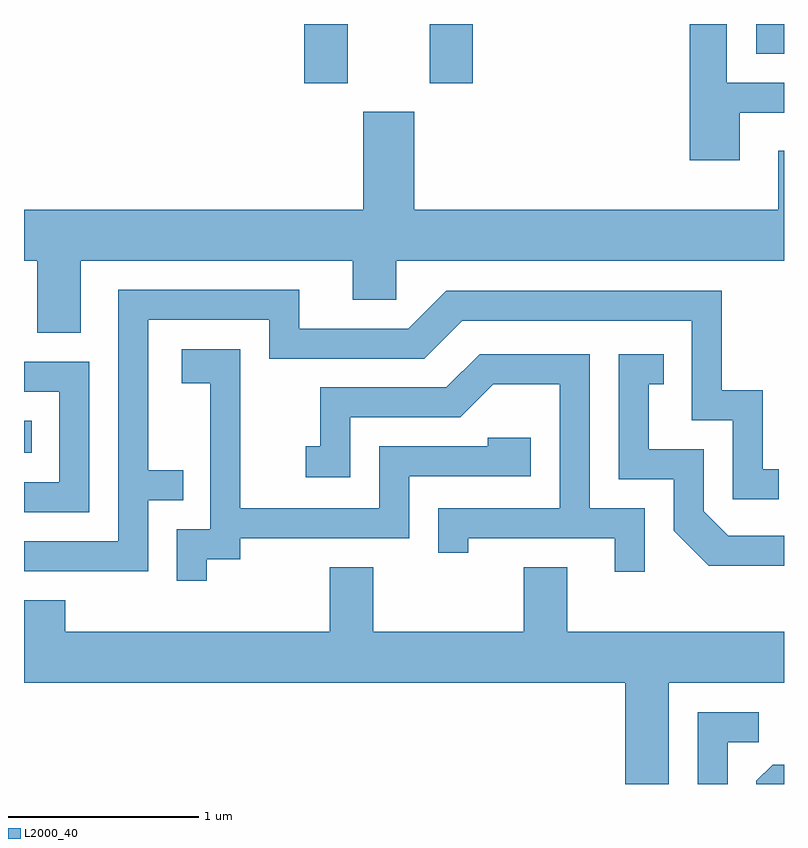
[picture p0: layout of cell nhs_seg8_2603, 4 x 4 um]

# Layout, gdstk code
import gdstk
lib = gdstk.Library(unit=1e-6, precision=1e-09)
def R(c, l, rs):  # rectangles x0, y0, x1, y1
    for r in rs: c.add(gdstk.rectangle(r[:2], r[2:], *l))
def P(c, l, *ps):  # polygons
    for p in ps: c.add(gdstk.Polygon(p, *l))
L2000_40 = (2000, 40)

nhs_seg8_2603 = lib.new_cell('nhs_seg8_2603')
R(nhs_seg8_2603, L2000_40, [(263.611,1822.086,263.653,1822.254), (265.086,1824.031,265.314,1824.342), (265.746,1824.031,265.974,1824.342), (267.466,1824.186,267.611,1824.342)])
P(nhs_seg8_2603, L2000_40, [(267.379,1823.876),(267.611,1823.876),(267.611,1824.034),(267.309,1824.034),(267.309,1824.342),(267.116,1824.342),(267.116,1823.626),(267.379,1823.626)],
  [(263.909,1823.096),(265.341,1823.096),(265.341,1822.891),(265.569,1822.891),(265.569,1823.096),(267.611,1823.096),(267.611,1823.674),(267.581,1823.674),(267.581,1823.364),(265.664,1823.364),(265.664,1823.879),(265.396,1823.879),(265.396,1823.364),(263.611,1823.364),(263.611,1823.096),(263.681,1823.096),(263.681,1822.716),(263.909,1822.716)],
  [(264.264,1821.836),(264.448,1821.836),(264.448,1821.994),(264.264,1821.994),(264.264,1822.786),(264.901,1822.786),(264.901,1822.581),(265.717,1822.581),(265.917,1822.781),(267.126,1822.781),(267.126,1822.256),(267.341,1822.256),(267.341,1821.841),(267.583,1821.841),(267.583,1821.999),(267.499,1821.999),(267.499,1822.414),(267.284,1822.414),(267.284,1822.939),(265.834,1822.939),(265.634,1822.739),(265.059,1822.739),(265.059,1822.944),(264.106,1822.944),(264.106,1821.619),(263.611,1821.619),(263.611,1821.461),(264.264,1821.461)],
  [(264.574,1821.526),(264.749,1821.526),(264.749,1821.636),(265.639,1821.636),(265.639,1821.961),(266.279,1821.961),(266.279,1822.164),(266.051,1822.164),(266.051,1822.119),(265.481,1822.119),(265.481,1821.794),(264.749,1821.794),(264.749,1822.629),(264.441,1822.629),(264.441,1822.451),(264.591,1822.451),(264.591,1821.684),(264.416,1821.684),(264.416,1821.413),(264.574,1821.413)],
  [(266.879,1821.794),(266.589,1821.794),(266.589,1822.604),(266.009,1822.604),(265.834,1822.429),(265.171,1822.429),(265.171,1822.119),(265.093,1822.119),(265.093,1821.956),(265.329,1821.956),(265.329,1822.271),(265.907,1822.271),(266.082,1822.446),(266.431,1822.446),(266.431,1821.794),(265.791,1821.794),(265.791,1821.558),(265.949,1821.558),(265.949,1821.636),(266.721,1821.636),(266.721,1821.458),(266.879,1821.458)],
  [(267.611,1821.649),(267.317,1821.649),(267.189,1821.777),(267.189,1822.104),(266.899,1822.104),(266.899,1822.446),(266.978,1822.446),(266.978,1822.604),(266.741,1822.604),(266.741,1821.946),(267.031,1821.946),(267.031,1821.674),(267.214,1821.491),(267.611,1821.491)],
  [(263.954,1822.564),(263.611,1822.564),(263.611,1822.406),(263.796,1822.406),(263.796,1821.929),(263.611,1821.929),(263.611,1821.771),(263.954,1821.771)],
  [(267.004,1820.876),(267.611,1820.876),(267.611,1821.144),(266.469,1821.144),(266.469,1821.484),(266.241,1821.484),(266.241,1821.144),(265.449,1821.144),(265.449,1821.484),(265.221,1821.484),(265.221,1821.144),(263.829,1821.144),(263.829,1821.309),(263.611,1821.309),(263.611,1820.876),(266.776,1820.876),(266.776,1820.342),(267.004,1820.342)],
  [(267.314,1820.561),(267.478,1820.561),(267.478,1820.719),(267.156,1820.719),(267.156,1820.342),(267.314,1820.342)],
  [(267.611,1820.444),(267.552,1820.444),(267.466,1820.359),(267.466,1820.342),(267.611,1820.342)])

lib.write_gds('nhs_seg8_2603.gds')
